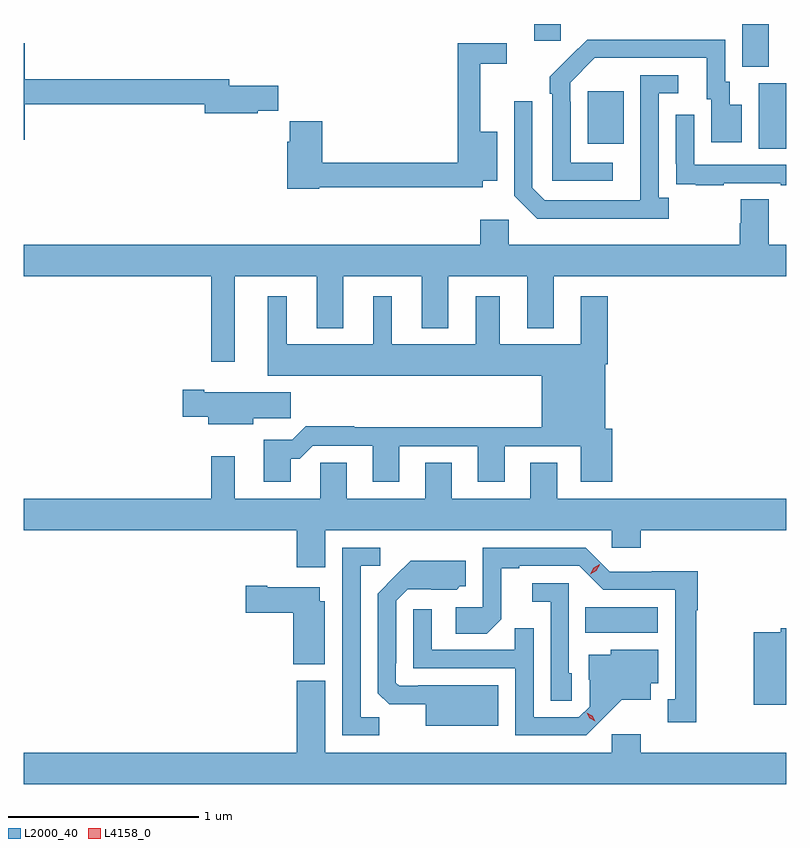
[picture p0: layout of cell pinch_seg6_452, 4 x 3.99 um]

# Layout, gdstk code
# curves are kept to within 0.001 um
import gdstk
lib = gdstk.Library(unit=1e-6, precision=1e-09)
def R(c, l, rs):  # rectangles x0, y0, x1, y1
    for r in rs: c.add(gdstk.rectangle(r[:2], r[2:], *l))
def P(c, l, *ps):  # polygons
    for p in ps: c.add(gdstk.Polygon(p, *l))
L2000_40 = (2000, 40)
L4158_0 = (4158, 0)

pinch_seg6_452 = lib.new_cell('pinch_seg6_452')
R(pinch_seg6_452, L2000_40, [(714.346,925.484,714.727,925.618), (715.256,928.024,715.401,928.368), (714.359,928.049,714.547,928.324), (715.169,928.453,715.309,928.678), (714.08,928.59,714.219,928.678)])
P(pinch_seg6_452, L2000_40, [(714.49,927.951),(714.27,927.951),(714.27,928.271),(714.267,928.271),(714.267,928.371),(714.396,928.5),(714.983,928.5),(714.983,928.284),(715.007,928.284),(715.007,928.059),(715.168,928.059),(715.168,928.255),(715.105,928.255),(715.105,928.374),(715.08,928.374),(715.08,928.596),(714.356,928.596),(714.159,928.401),(714.159,928.313),(714.174,928.313),(714.174,927.855),(714.49,927.855)],
  [(712.95,927.822),(713.808,927.822),(713.808,927.857),(713.884,927.857),(713.884,928.114),(713.795,928.114),(713.795,928.47),(713.935,928.47),(713.935,928.578),(713.677,928.578),(713.677,927.95),(712.967,927.95),(712.967,928.169),(712.796,928.169),(712.796,928.061),(712.784,928.061),(712.784,927.814),(712.95,927.814)],
  [(711.407,928.258),(712.352,928.258),(712.352,928.211),(712.628,928.211),(712.628,928.223),(712.736,928.223),(712.736,928.353),(712.48,928.353),(712.48,928.387),(711.407,928.387),(711.407,928.578),(711.401,928.578),(711.401,928.071),(711.407,928.071)],
  [(714.784,927.766),(714.732,927.766),(714.732,928.314),(714.835,928.314),(714.835,928.41),(714.636,928.41),(714.635,927.753),(714.135,927.753),(714.069,927.819),(714.069,928.273),(713.973,928.273),(713.973,927.777),(714.094,927.656),(714.784,927.656)],
  [(715.073,927.843),(715.373,927.843),(715.373,927.831),(715.401,927.831),(715.401,927.939),(714.918,927.939),(714.918,928.201),(714.822,928.201),(714.822,927.946),(714.823,927.946),(714.823,927.837),(714.925,927.837),(714.925,927.831),(715.073,927.831)],
  [(712.507,927.356),(712.937,927.356),(712.937,927.083),(713.077,927.083),(713.077,927.356),(713.489,927.356),(713.489,927.083),(713.629,927.083),(713.629,927.356),(714.041,927.356),(714.041,927.083),(714.181,927.083),(714.181,927.356),(715.401,927.356),(715.401,927.52),(715.309,927.52),(715.309,927.758),(715.162,927.758),(715.162,927.633),(715.157,927.633),(715.157,927.52),(713.946,927.52),(713.946,927.652),(713.795,927.652),(713.795,927.52),(711.401,927.52),(711.401,927.356),(712.386,927.356),(712.386,926.907),(712.507,926.907)],
  [(712.801,926.399),(712.85,926.399),(712.917,926.466),(713.231,926.466),(713.231,926.277),(713.371,926.277),(713.371,926.463),(713.783,926.463),(713.783,926.277),(713.923,926.277),(713.923,926.463),(714.323,926.463),(714.323,926.277),(714.488,926.277),(714.488,926.556),(714.451,926.556),(714.451,926.894),(714.464,926.894),(714.464,927.25),(714.323,927.25),(714.323,926.998),(713.899,926.998),(713.899,927.25),(713.771,927.25),(713.771,926.998),(713.332,926.998),(713.332,927.25),(713.234,927.25),(713.234,926.998),(712.78,926.998),(712.78,927.25),(712.682,927.25),(712.682,926.834),(714.119,926.834),(714.119,926.564),(713.135,926.564),(713.135,926.567),(712.88,926.567),(712.81,926.497),(712.661,926.497),(712.661,926.277),(712.801,926.277)],
  [(712.606,926.611),(712.801,926.611),(712.801,926.746),(712.348,926.746),(712.348,926.759),(712.236,926.759),(712.236,926.617),(712.37,926.617),(712.37,926.579),(712.606,926.579)],
  [(712.984,926.024),(714.486,926.024),(714.486,925.931),(714.638,925.931),(714.638,926.024),(715.401,926.024),(715.401,926.188),(714.199,926.188),(714.199,926.378),(714.059,926.378),(714.059,926.188),(713.647,926.188),(713.647,926.378),(713.507,926.378),(713.507,926.188),(713.095,926.188),(713.095,926.378),(712.956,926.378),(712.956,926.188),(712.507,926.188),(712.507,926.41),(712.386,926.41),(712.386,926.188),(711.401,926.188),(711.401,926.024),(712.832,926.024),(712.832,925.83),(712.984,925.83)],
  [(713.265,925.043),(713.169,925.043),(713.169,925.836),(713.272,925.836),(713.272,925.932),(713.073,925.932),(713.073,924.948),(713.265,924.948)],
  [(714.929,925.603),(714.937,925.603),(714.937,925.808),(714.696,925.808),(714.696,925.806),(714.474,925.806),(714.348,925.932),(713.808,925.932),(713.808,925.62),(713.667,925.62),(713.667,925.48),(713.831,925.48),(713.907,925.556),(713.907,925.824),(714.001,925.824),(714.001,925.836),(714.315,925.836),(714.441,925.71),(714.818,925.71),(714.818,925.137),(714.779,925.137),(714.779,925.017),(714.929,925.017)],
  [(713.89,925.21),(713.47,925.21),(713.47,925.206),(713.37,925.206),(713.352,925.224),(713.352,925.324),(713.355,925.324),(713.355,925.653),(713.415,925.713),(713.672,925.712),(713.688,925.728),(713.719,925.728),(713.719,925.864),(713.431,925.864),(713.259,925.69),(713.259,925.168),(713.318,925.109),(713.51,925.109),(713.51,924.998),(713.89,924.998)],
  [(714.276,925.272),(714.261,925.272),(714.261,925.746),(714.069,925.746),(714.069,925.649),(714.165,925.649),(714.165,925.129),(714.276,925.129)],
  [(712.981,925.65),(712.954,925.65),(712.954,925.723),(712.678,925.723),(712.678,925.731),(712.566,925.731),(712.566,925.589),(712.814,925.589),(712.814,925.319),(712.981,925.319)],
  [(714.436,925.031),(714.539,925.133),(714.691,925.133),(714.691,925.22),(714.73,925.22),(714.73,925.396),(714.48,925.396),(714.48,925.369),(714.365,925.369),(714.365,925.24),(714.369,925.24),(714.369,925.098),(714.312,925.041),(714.075,925.041),(714.075,925.508),(713.977,925.508),(713.977,925.395),(713.541,925.395),(713.541,925.609),(713.445,925.609),(713.445,925.299),(713.979,925.299),(713.979,924.948),(714.352,924.948)],
  [(715.401,925.508),(715.372,925.508),(715.372,925.488),(715.231,925.488),(715.231,925.107),(715.401,925.107)],
  [(715.401,924.856),(714.638,924.856),(714.638,924.952),(714.486,924.952),(714.486,924.856),(712.984,924.856),(712.984,925.234),(712.832,925.234),(712.832,924.856),(711.401,924.856),(711.401,924.692),(715.401,924.692)])
P(pinch_seg6_452, L4158_0, [(714.4,925.02),(714.37,925.036),(714.353,925.066),(714.353,925.066),(714.354,925.066),(714.384,925.05),(714.4,925.02),(714.4,925.02)],
  [(714.372,925.792),(714.372,925.793),(714.39,925.825),(714.422,925.844),(714.422,925.844),(714.422,925.843),(714.404,925.811),(714.372,925.792)])

lib.write_gds('pinch_seg6_452.gds')
